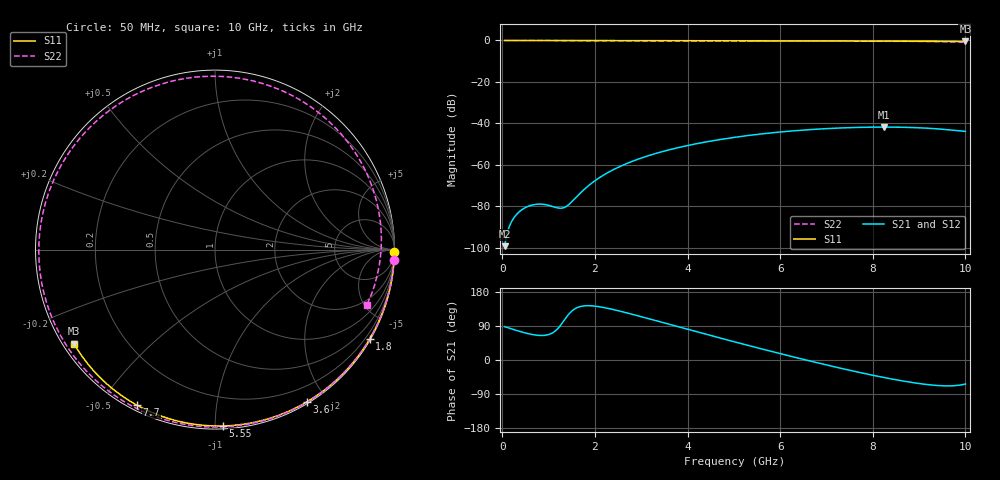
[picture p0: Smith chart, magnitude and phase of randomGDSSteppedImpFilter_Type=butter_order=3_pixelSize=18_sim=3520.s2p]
! freq	dB(S11)	phase(S11)	dB(S12)	phase(S12)
!  dB(S21)	phase(S21)	dB(S22)	phase(S22)
!S-par simulation data
#  GHz  S  DB  R 50
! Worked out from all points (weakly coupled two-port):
!   200 points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, 50 MHz to 10 GHz, reference 50 ohm
!   highest |S21| = -41.76 dB at 8.25 GHz (marker M1); lowest = -99.2 dB at 50 MHz (marker M2)
!   lowest |S11| = -0.5 dB at 10 GHz (marker M3), VSWR 35.21, Z = 1.55 - j15.1 ohm
!   |S11| at or under -10 dB: nowhere
!   |S22| runs from -0.9 to 0.0 dB; largest |S21 - S12| = 0
!   S11 on the Smith chart (normalised r, x): 50 MHz: open; 1.8 GHz: 0.03, -3.71; 3.6 GHz: 0.02, -1.78; 5.55 GHz: 0.02, -1.05; 7.7 GHz: 0.02, -0.62; 10 GHz: 0.03, -0.30
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0.05  -0.00 -0.9  -99.18 88.0  -99.18 88.0  -0.00 -3.3
0.45  -0.01 -7.6  -81.20 72.9  -81.20 72.9  -0.04 -28.8
0.9  -0.02 -15.2  -79.05 64.9  -79.05 64.9  -0.07 -55.9
1.4  -0.03 -23.5  -79.77 115.5  -79.77 115.5  -0.09 -82.8
1.75  -0.04 -29.3  -72.18 142.6  -72.18 142.6  -0.10 -99.4
1.8  -0.04 -30.1  -71.18 143.2  -71.18 143.2  -0.11 -101.7
2.1  -0.04 -35.0  -66.12 140.5  -66.12 140.5  -0.11 -114.5
2.45  -0.05 -40.7  -61.72 131.6  -61.72 131.6  -0.12 -128.2
2.9  -0.06 -47.8  -57.49 117.6  -57.49 117.6  -0.13 -144.1
3.4  -0.07 -55.7  -53.93 101.0  -53.93 101.0  -0.14 -160.1
3.6  -0.08 -58.7  -52.74 94.4  -52.74 94.4  -0.15 -166.2
4.3  -0.10 -69.3  -49.32 71.1  -49.32 71.1  -0.17 173.9
5.05  -0.12 -80.3  -46.60 46.7  -46.60 46.7  -0.19 153.7
5.55  -0.14 -87.5  -45.19 30.9  -45.19 30.9  -0.22 140.4
6.7  -0.20 -103.3  -42.90 -4.3  -42.90 -4.3  -0.27 109.4
7.7  -0.27 -116.6  -41.91 -32.5  -41.91 -32.5  -0.32 80.1
8.25  -0.31 -123.8  -41.76 -46.4  -41.76 -46.4  -0.36 62.4
8.35  -0.32 -125.1  -41.77 -48.8  -41.77 -48.8  -0.37 59.0
8.9  -0.37 -132.1  -42.02 -60.3  -42.02 -60.3  -0.43 38.8
9.4  -0.42 -138.6  -42.62 -67.4  -42.62 -67.4  -0.54 16.9
9.75  -0.46 -143.1  -43.31 -67.9  -43.31 -67.9  -0.70 -2.3
10  -0.49 -146.3  -43.83 -63.3  -43.83 -63.3  -0.91 -20.0
